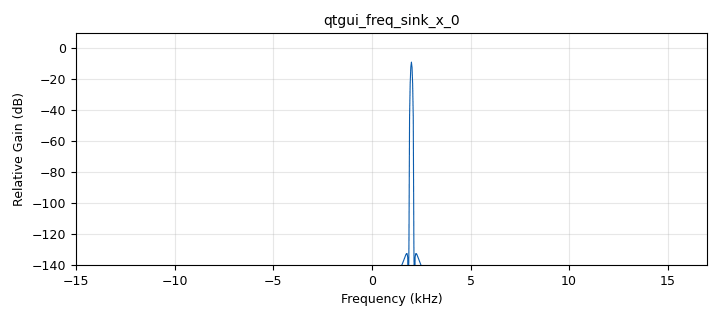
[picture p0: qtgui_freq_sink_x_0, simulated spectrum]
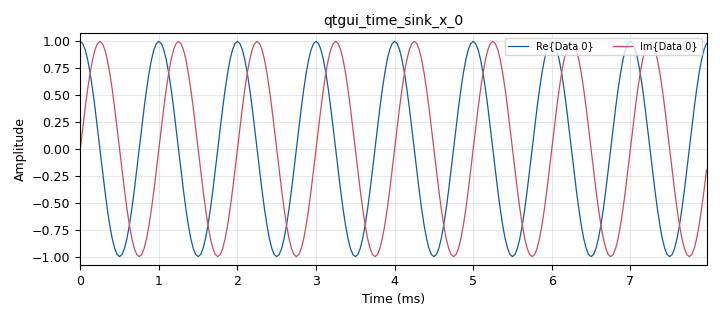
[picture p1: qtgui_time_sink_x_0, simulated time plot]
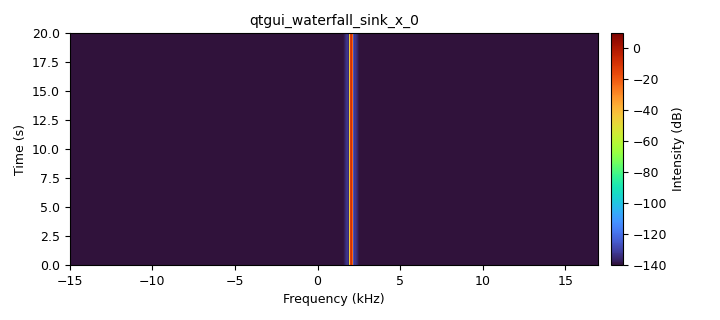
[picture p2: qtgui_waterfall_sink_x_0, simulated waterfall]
options:
  parameters:
    generate_options: qt_gui
    id: genosc
    output_language: python
    title: Not titled yet
  states: {}

blocks:
- name: samp_rate
  id: variable
  parameters:
    value: '32000'
  states: {}
- name: analog_sig_source_x_0
  id: analog_sig_source_x
  parameters:
    amp: '1'
    freq: '1000'
    offset: '0'
    phase: '0'
    samp_rate: samp_rate
    type: complex
    waveform: analog.GR_SIN_WAVE
  states: {}
- name: audio_sink_0
  id: audio_sink
  parameters:
    samp_rate: samp_rate
  states: {}
- name: blocks_complex_to_float_0
  id: blocks_complex_to_float
  parameters: {}
  states: {}
- name: qtgui_freq_sink_x_0
  id: qtgui_freq_sink_x
  parameters:
    bw: samp_rate
    fc: '1000'
    fftsize: '1024'
    type: complex
  states: {}
- name: qtgui_time_sink_x_0
  id: qtgui_time_sink_x
  parameters:
    grid: 'True'
    size: '256'
    srate: samp_rate
    type: complex
  states: {}
- name: qtgui_waterfall_sink_x_0
  id: qtgui_waterfall_sink_x
  parameters:
    bw: samp_rate
    fc: '1000'
    fftsize: '1024'
    type: complex
  states: {}

connections:
- [analog_sig_source_x_0, '0', blocks_complex_to_float_0, '0']
- [analog_sig_source_x_0, '0', qtgui_freq_sink_x_0, '0']
- [analog_sig_source_x_0, '0', qtgui_time_sink_x_0, '0']
- [analog_sig_source_x_0, '0', qtgui_waterfall_sink_x_0, '0']
- [blocks_complex_to_float_0, '0', audio_sink_0, '0']

metadata:
  file_format: 1
  grc_version: 3.10.12.0
